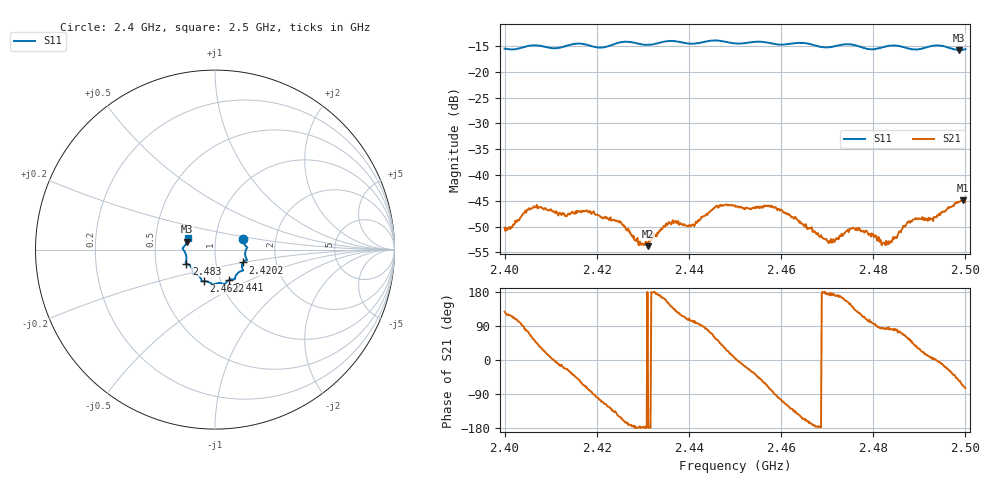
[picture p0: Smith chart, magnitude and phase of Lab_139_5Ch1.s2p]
# Hz S RI R 50
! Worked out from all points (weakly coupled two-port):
!   601 points, 2.4 GHz to 2.5 GHz, reference 50 ohm
!   highest |S21| = -44.88 dB at 2.4995 GHz (marker M1); lowest = -53.8 dB at 2.4312 GHz (marker M2)
!   lowest |S11| = -15.8 dB at 2.4987 GHz (marker M3), VSWR 1.39, Z = 36.4 + j3.3 ohm
!   |S11| at or under -10 dB: start of sweep to end of sweep
!   S12 and S22 are empty: the file has one direction only
!   S11 on the Smith chart (normalised r, x): 2.4 GHz: 1.36, +0.17; 2.4202 GHz: 1.35, -0.20; 2.441 GHz: 1.10, -0.39; 2.4622 GHz: 0.83, -0.30; 2.483 GHz: 0.72, -0.12; 2.5 GHz: 0.73, +0.09
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2.4e9  0.1563 0.0603  -0.00186 0.00245  0 0  0 0
2.4065e9  0.1799 0.0127  0.003 0.0038  0 0  0 0
2.416667e9  0.1775 -0.0583  0.00226 -0.00384  0 0  0 0
2.420167e9  0.1562 -0.0716  -0.00064 -0.00405  0 0  0 0
2.431167e9  0.1241 -0.1332  -0.00204 -0.000118  0 0  0 0
2.433333e9  0.1129 -0.1523  -0.00267 0.000435  0 0  0 0
2.436e9  0.1108 -0.165  -0.00267 0.00211  0 0  0 0
2.441e9  0.0769 -0.1705  -0.000534 0.00321  0 0  0 0
2.445667e9  0.0527 -0.194  0.00253 0.00411  0 0  0 0
2.45e9  0.0268 -0.1863  0.00505 0.000349  0 0  0 0
2.4575e9  -0.0214 -0.1886  0.00129 -0.00488  0 0  0 0
2.462167e9  -0.0629 -0.1762  -0.00246 -0.00305  0 0  0 0
2.466667e9  -0.0765 -0.167  -0.00304 -0.000628  0 0  0 0
2.4705e9  -0.1011 -0.1402  -0.00227 0.000155  0 0  0 0
2.4755e9  -0.1258 -0.133  -0.00239 0.00193  0 0  0 0
2.483e9  -0.1589 -0.0778  0.000306 0.00209  0 0  0 0
2.483333e9  -0.1606 -0.0771  0.00014 0.00227  0 0  0 0
2.487667e9  -0.1595 -0.0525  0.00192 0.00295  0 0  0 0
2.493167e9  -0.1792 0.00368  0.00391 0.000121  0 0  0 0
2.498667e9  -0.156 0.0442  0.00309 -0.00451  0 0  0 0
2.4995e9  -0.1536 0.0556  0.00213 -0.00529  0 0  0 0
2.5e9  -0.153 0.0627  0.0015 -0.00527  0 0  0 0
